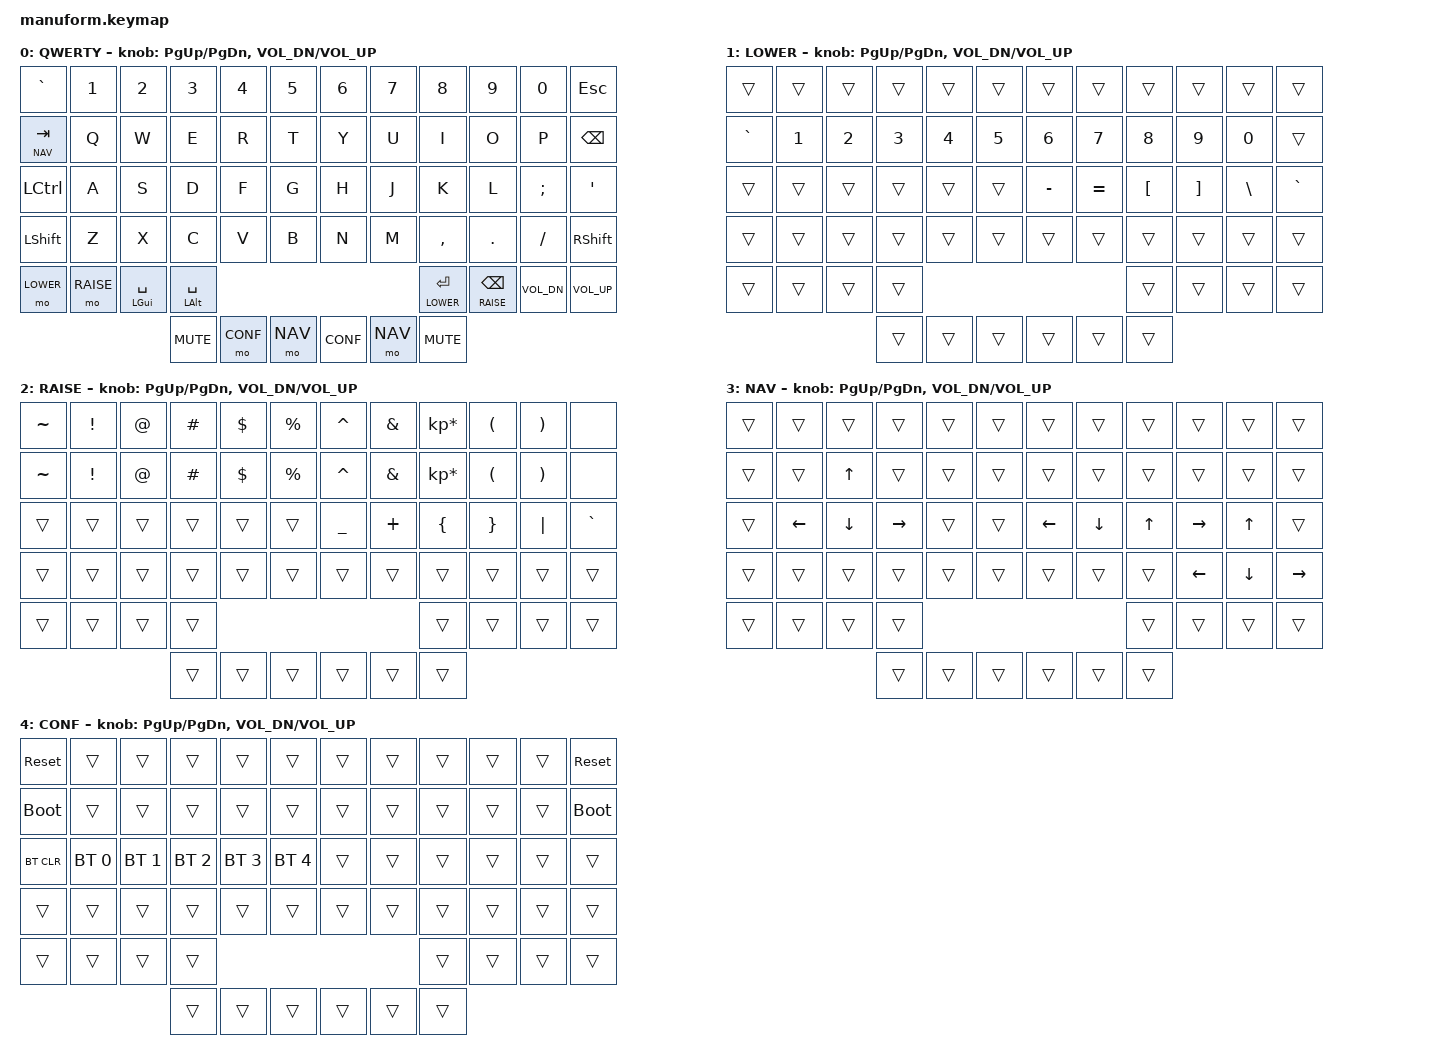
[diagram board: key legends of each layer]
/*
 * Copyright (c) 2020 The ZMK Contributors
 *
 * SPDX-License-Identifier: MIT
 */

#include <behaviors.dtsi>
#include <dt-bindings/zmk/bt.h>
#include <dt-bindings/zmk/ext_power.h>
#include <dt-bindings/zmk/keys.h>
#include <dt-bindings/zmk/outputs.h>

#define QWERTY 0
#define LOWER  1
#define RAISE  2
#define NAV    3
#define CONF   4

/ {
    keymap {
        compatible = "zmk,keymap";

        default_layer {
            display-name = "QWERTY";
            bindings = <
                &kp GRAVE    &kp N1   &kp N2   &kp N3   &kp N4   &kp N5        &kp N6   &kp N7   &kp N8    &kp N9    &kp N0     &kp ESC
                &lt NAV TAB  &kp Q    &kp W    &kp E    &kp R    &kp T         &kp Y    &kp U    &kp I     &kp O     &kp P      &kp BSPC
                &kp LCTRL    &kp A    &kp S    &kp D    &kp F    &kp G         &kp H    &kp J    &kp K     &kp L     &kp SEMI   &kp SQT
                &kp LSHFT    &kp Z    &kp X    &kp C    &kp V    &kp B         &kp N    &kp M    &kp COMMA &kp DOT   &kp FSLH   &kp RSHFT
                    &mo LOWER  &mo RAISE  &mt LGUI SPACE &mt LALT SPACE        &lt LOWER RET &lt RAISE BSPC   &kp C_VOL_DN  &kp C_VOL_UP
                                            &kp C_MUTE  &mo CONF  &mo NAV       &kp CONF  &mo NAV  &kp K_MUTE
            >;

            sensor-bindings = <&inc_dec_kp PG_UP PG_DN &inc_dec_kp C_VOL_DN C_VOL_UP>;
        };

        lower_layer {
            display-name = "LOWER";
            bindings = <
                &trans       &trans    &trans    &trans    &trans    &trans               &trans    &trans    &trans    &trans    &trans    &trans
                &kp GRAVE    &kp N1    &kp N2    &kp N3    &kp N4    &kp N5               &kp N6    &kp N7    &kp N8    &kp N9    &kp N0    &trans
                &trans       &trans    &trans    &trans    &trans    &trans               &kp MINUS &kp EQUAL &kp LBKT  &kp RBKT  &kp BSLH  &kp GRAVE
                &trans       &trans    &trans    &trans    &trans    &trans               &trans    &trans    &trans    &trans    &trans    &trans
                                        &trans   &trans    &trans    &trans               &trans    &trans    &trans    &trans
                                                 &trans    &trans    &trans               &trans    &trans    &trans
            >;

            sensor-bindings = <&inc_dec_kp PG_UP PG_DN &inc_dec_kp C_VOL_DN C_VOL_UP>;
        };

        raise_layer {
            display-name = "RAISE";
            bindings = <
                &kp TILDE    &kp EXCL  &kp AT    &kp HASH  &kp DLLR  &kp PRCNT            &kp CARET &kp AMPS  &kp KP_MULTIPLY &kp LPAR &kp RPAR &none
                &kp TILDE    &kp EXCL  &kp AT    &kp HASH  &kp DLLR  &kp PRCNT            &kp CARET &kp AMPS  &kp KP_MULTIPLY &kp LPAR &kp RPAR &none
                &trans       &trans    &trans    &trans    &trans    &trans               &kp UNDER &kp PLUS  &kp LEFT_BRACE  &kp RIGHT_BRACE &kp PIPE &kp GRAVE
                &trans       &trans    &trans    &trans    &trans    &trans               &trans    &trans    &trans    &trans    &trans    &trans
                                        &trans   &trans    &trans    &trans               &trans    &trans    &trans    &trans
                                                 &trans    &trans    &trans               &trans    &trans    &trans

            >;

            sensor-bindings = <&inc_dec_kp PG_UP PG_DN &inc_dec_kp C_VOL_DN C_VOL_UP>;
        };

        navigation_layer {
			display-name = "NAV";

			bindings = <
                &trans    &trans    &trans   &trans    &trans    &trans                   &trans    &trans    &trans    &trans    &trans    &trans
                &trans    &trans    &kp UP   &trans    &trans    &trans                   &trans    &trans    &trans    &trans    &trans    &trans
                &trans    &kp LEFT  &kp DOWN &kp RIGHT &trans    &trans                   &kp LEFT  &kp DOWN  &kp UP    &kp RIGHT &kp UP    &trans
                &trans    &trans    &trans   &trans    &trans    &trans                   &trans    &trans    &trans    &kp LEFT  &kp DOWN  &kp RIGHT
                                      &trans &trans    &trans    &trans                   &trans    &trans    &trans    &trans
                                              &trans   &trans    &trans                   &trans    &trans    &trans
			>;

            sensor-bindings = <&inc_dec_kp PG_UP PG_DN &inc_dec_kp C_VOL_DN C_VOL_UP>;
		};

        configuration_layer {
			display-name = "CONF";

			bindings = <
                &sys_reset    &trans    &trans   &trans    &trans    &trans                   &trans    &trans    &trans    &trans    &trans    &sys_reset
                &bootloader    &trans    &trans   &trans    &trans    &trans                   &trans    &trans    &trans    &trans    &trans    &bootloader
                &bt BT_CLR      &bt BT_SEL 0 &bt BT_SEL 1 &bt BT_SEL 2 &bt BT_SEL 3 &bt BT_SEL 4                   &trans    &trans    &trans    &trans    &trans    &trans
                &trans    &trans    &trans   &trans    &trans    &trans                   &trans    &trans    &trans    &trans    &trans    &trans
                                      &trans &trans     &trans   &trans                   &trans    &trans    &trans    &trans
                                             &trans     &trans   &trans                   &trans    &trans    &trans
			>;

            sensor-bindings = <&inc_dec_kp PG_UP PG_DN &inc_dec_kp C_VOL_DN C_VOL_UP>;
		};
    };
};
